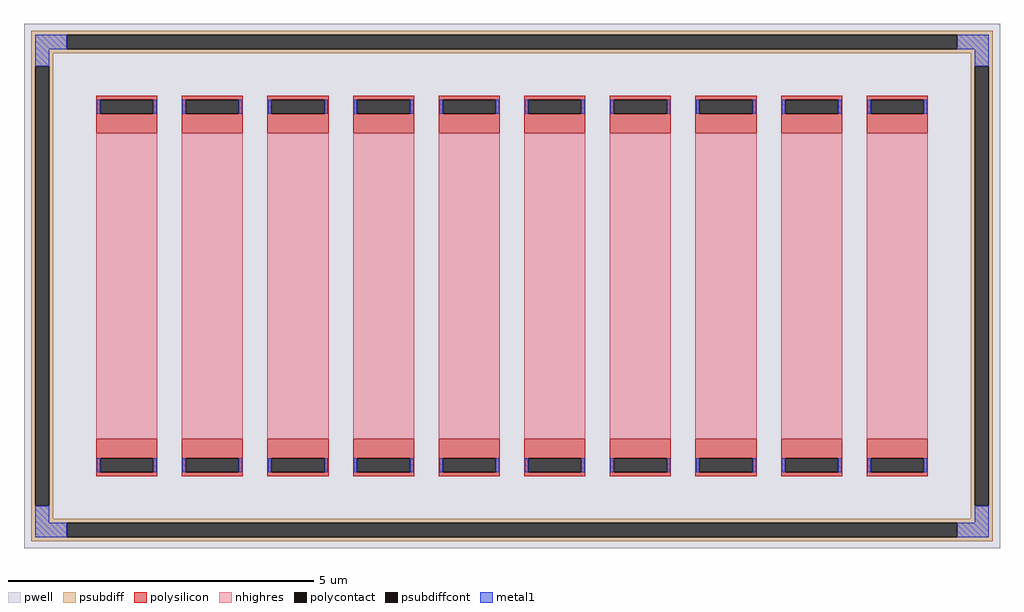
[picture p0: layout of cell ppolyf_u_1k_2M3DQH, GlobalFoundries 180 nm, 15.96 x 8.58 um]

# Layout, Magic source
magic
tech gf180mcuD
magscale 1 10
<< pwell >>
rect -1596 -858 1596 858
<< psubdiff >>
rect -1572 821 1572 834
rect -1572 775 -1456 821
rect 1456 775 1572 821
rect -1572 762 1572 775
rect -1572 718 -1500 762
rect -1572 -718 -1559 718
rect -1513 -718 -1500 718
rect 1500 718 1572 762
rect -1572 -762 -1500 -718
rect 1500 -718 1513 718
rect 1559 -718 1572 718
rect 1500 -762 1572 -718
rect -1572 -775 1572 -762
rect -1572 -821 -1456 -775
rect 1456 -821 1572 -775
rect -1572 -834 1572 -821
<< psubdiffcont >>
rect -1456 775 1456 821
rect -1559 -718 -1513 718
rect 1513 -718 1559 718
rect -1456 -821 1456 -775
<< polysilicon >>
rect -1360 609 -1160 622
rect -1360 563 -1347 609
rect -1173 563 -1160 609
rect -1360 500 -1160 563
rect -1360 -563 -1160 -500
rect -1360 -609 -1347 -563
rect -1173 -609 -1160 -563
rect -1360 -622 -1160 -609
rect -1080 609 -880 622
rect -1080 563 -1067 609
rect -893 563 -880 609
rect -1080 500 -880 563
rect -1080 -563 -880 -500
rect -1080 -609 -1067 -563
rect -893 -609 -880 -563
rect -1080 -622 -880 -609
rect -800 609 -600 622
rect -800 563 -787 609
rect -613 563 -600 609
rect -800 500 -600 563
rect -800 -563 -600 -500
rect -800 -609 -787 -563
rect -613 -609 -600 -563
rect -800 -622 -600 -609
rect -520 609 -320 622
rect -520 563 -507 609
rect -333 563 -320 609
rect -520 500 -320 563
rect -520 -563 -320 -500
rect -520 -609 -507 -563
rect -333 -609 -320 -563
rect -520 -622 -320 -609
rect -240 609 -40 622
rect -240 563 -227 609
rect -53 563 -40 609
rect -240 500 -40 563
rect -240 -563 -40 -500
rect -240 -609 -227 -563
rect -53 -609 -40 -563
rect -240 -622 -40 -609
rect 40 609 240 622
rect 40 563 53 609
rect 227 563 240 609
rect 40 500 240 563
rect 40 -563 240 -500
rect 40 -609 53 -563
rect 227 -609 240 -563
rect 40 -622 240 -609
rect 320 609 520 622
rect 320 563 333 609
rect 507 563 520 609
rect 320 500 520 563
rect 320 -563 520 -500
rect 320 -609 333 -563
rect 507 -609 520 -563
rect 320 -622 520 -609
rect 600 609 800 622
rect 600 563 613 609
rect 787 563 800 609
rect 600 500 800 563
rect 600 -563 800 -500
rect 600 -609 613 -563
rect 787 -609 800 -563
rect 600 -622 800 -609
rect 880 609 1080 622
rect 880 563 893 609
rect 1067 563 1080 609
rect 880 500 1080 563
rect 880 -563 1080 -500
rect 880 -609 893 -563
rect 1067 -609 1080 -563
rect 880 -622 1080 -609
rect 1160 609 1360 622
rect 1160 563 1173 609
rect 1347 563 1360 609
rect 1160 500 1360 563
rect 1160 -563 1360 -500
rect 1160 -609 1173 -563
rect 1347 -609 1360 -563
rect 1160 -622 1360 -609
<< polycontact >>
rect -1347 563 -1173 609
rect -1347 -609 -1173 -563
rect -1067 563 -893 609
rect -1067 -609 -893 -563
rect -787 563 -613 609
rect -787 -609 -613 -563
rect -507 563 -333 609
rect -507 -609 -333 -563
rect -227 563 -53 609
rect -227 -609 -53 -563
rect 53 563 227 609
rect 53 -609 227 -563
rect 333 563 507 609
rect 333 -609 507 -563
rect 613 563 787 609
rect 613 -609 787 -563
rect 893 563 1067 609
rect 893 -609 1067 -563
rect 1173 563 1347 609
rect 1173 -609 1347 -563
<< nhighres >>
rect -1360 -500 -1160 500
rect -1080 -500 -880 500
rect -800 -500 -600 500
rect -520 -500 -320 500
rect -240 -500 -40 500
rect 40 -500 240 500
rect 320 -500 520 500
rect 600 -500 800 500
rect 880 -500 1080 500
rect 1160 -500 1360 500
<< metal1 >>
rect -1559 775 -1456 821
rect 1456 775 1559 821
rect -1559 718 -1513 775
rect 1513 718 1559 775
rect -1358 563 -1347 609
rect -1173 563 -1162 609
rect -1078 563 -1067 609
rect -893 563 -882 609
rect -798 563 -787 609
rect -613 563 -602 609
rect -518 563 -507 609
rect -333 563 -322 609
rect -238 563 -227 609
rect -53 563 -42 609
rect 42 563 53 609
rect 227 563 238 609
rect 322 563 333 609
rect 507 563 518 609
rect 602 563 613 609
rect 787 563 798 609
rect 882 563 893 609
rect 1067 563 1078 609
rect 1162 563 1173 609
rect 1347 563 1358 609
rect -1358 -609 -1347 -563
rect -1173 -609 -1162 -563
rect -1078 -609 -1067 -563
rect -893 -609 -882 -563
rect -798 -609 -787 -563
rect -613 -609 -602 -563
rect -518 -609 -507 -563
rect -333 -609 -322 -563
rect -238 -609 -227 -563
rect -53 -609 -42 -563
rect 42 -609 53 -563
rect 227 -609 238 -563
rect 322 -609 333 -563
rect 507 -609 518 -563
rect 602 -609 613 -563
rect 787 -609 798 -563
rect 882 -609 893 -563
rect 1067 -609 1078 -563
rect 1162 -609 1173 -563
rect 1347 -609 1358 -563
rect -1559 -775 -1513 -718
rect 1513 -775 1559 -718
rect -1559 -821 -1456 -775
rect 1456 -821 1559 -775
<< properties >>
string FIXED_BBOX -1536 -798 1536 798
string gencell ppolyf_u_1k
string library gf180mcu
string parameters w 1.0 l 5.0 m 1 nx 10 wmin 1.000 lmin 1.000 class resistor rho 1000 val 5.152k dummy 0 dw 0.0296 term 0.0 sterm 0.0 caplen 0.4 snake 0 glc 1 grc 1 gtc 1 gbc 1 roverlap 0 endcov 100 full_metal 1 guard 1 guard_type pwell compatible {ppolyf_u_1k ppolyf_u_1k_6p0}
<< end >>
